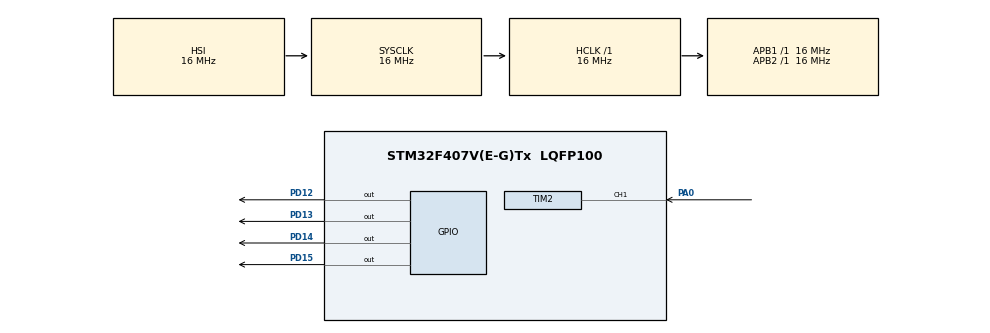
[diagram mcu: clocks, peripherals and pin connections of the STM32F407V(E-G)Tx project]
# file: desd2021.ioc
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Mcu.Family=STM32F4
RCC.CortexFreq_Value=16000000
TIM2.Channel-Input_Capture1_from_TI1=TIM_CHANNEL_1
VP_IWDG_VS_IWDG.Mode=IWDG_Activate
ProjectManager.StackSize=0x400
PA0-WKUP.Signal=S_TIM2_CH1_ETR
PA13.Signal=SYS_JTMS-SWDIO
PD13.Signal=GPIO_Output
ProjectManager.TargetToolchain=STM32CubeIDE
TIM2.ICFilter_CH1=15
RCC.LSE_VALUE=32768
RCC.AHBFreq_Value=16000000
RCC.HSE_VALUE=25000000
board=custom
RCC.VCOOutputFreq_Value=192000000
RCC.APB2Freq_Value=16000000
VP_TIM2_VS_ClockSourceINT.Mode=Internal
PA14.Mode=Serial_Wire
NVIC.TIM2_IRQn=true\:0\:0\:false\:false\:true\:true\:true
TIM2.Period=8000
PA13.Mode=Serial_Wire
Mcu.Name=STM32F407V(E-G)Tx
PD14.Signal=GPIO_Output
RCC.SYSCLKFreq_VALUE=16000000
Mcu.Package=LQFP100
TIM2.Prescaler=16000
PD12.Signal=GPIO_Output
IWDG.Reload=4000
SH.S_TIM2_CH1_ETR.0=TIM2_CH1,Input_Capture1_from_TI1
PA14.Signal=SYS_JTCK-SWCLK
ProjectManager.HeapSize=0x200
RCC.HSI_VALUE=16000000
NVIC.PriorityGroup=NVIC_PRIORITYGROUP_4
TIM2.TIM_MasterOutputTrigger=TIM_TRGO_UPDATE
IWDG.Prescaler=IWDG_PRESCALER_64
TIM2.AutoReloadPreload=TIM_AUTORELOAD_PRELOAD_DISABLE
RCC.APB1Freq_Value=16000000
PD15.Signal=GPIO_Output

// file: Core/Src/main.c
/* USER CODE BEGIN Header */
/**
  ******************************************************************************
  * @file           : main.c
  * @brief          : Main program body
  ******************************************************************************
  * @attention
  *
  * <h2><center>&copy; Copyright (c) 2021 STMicroelectronics.
  * All rights reserved.</center></h2>
  *
  * This software component is licensed by ST under BSD 3-Clause license,
  * the "License"; You may not use this file except in compliance with the
  * License. You may obtain a copy of the License at:
  *                        opensource.org/licenses/BSD-3-Clause
  *
  ******************************************************************************
  */
/* USER CODE END Header */
#include "main.h"

IWDG_HandleTypeDef hiwdg;

TIM_HandleTypeDef htim2;

/* USER CODE BEGIN PV */
uint8_t ch=0;
int Val;
int CaptureVal;
/* USER CODE END PV */

void SystemClock_Config(void);
static void MX_GPIO_Init(void);
static void MX_TIM2_Init(void);
static void MX_IWDG_Init(void);

int main(void)
{

  /* MCU Configuration--------------------------------------------------------*/

  /* Reset of all peripherals, Initializes the Flash interface and the Systick. */
  HAL_Init();

  /* Configure the system clock */
  SystemClock_Config();

  /* Initialize all configured peripherals */
  MX_GPIO_Init();
  MX_TIM2_Init();
  MX_IWDG_Init();
  /* USER CODE BEGIN 2 */
  HAL_GPIO_WritePin(GPIOD, GPIO_PIN_15, SET);
  HAL_Delay(500);
  HAL_GPIO_WritePin(GPIOD, GPIO_PIN_15, RESET);
  HAL_TIM_IC_Start_IT(&htim2, TIM_CHANNEL_1);
  /* USER CODE END 2 */

  /* Infinite loop */
  while (1)
  {

    /* USER CODE BEGIN 3 */
	  Val = __HAL_TIM_GET_COUNTER(&htim2);

	  if(1 == ch)
	 	  {
		      HAL_IWDG_Refresh(&hiwdg);
		      while(1){
		    	  Val = __HAL_TIM_GET_COUNTER(&htim2);
	 		  HAL_GPIO_WritePin(GPIOD, GPIO_PIN_12,GPIO_PIN_SET);
	 		  HAL_Delay(500);
	 		  HAL_GPIO_WritePin(GPIOD, GPIO_PIN_13,GPIO_PIN_SET);
	 		  HAL_Delay(500);
	 		  HAL_GPIO_WritePin(GPIOD, GPIO_PIN_14,GPIO_PIN_SET);
	 		  HAL_Delay(500);
	 		  HAL_GPIO_WritePin(GPIOD, GPIO_PIN_15,GPIO_PIN_SET);
	 		  HAL_Delay(500);
	 		  HAL_GPIO_WritePin(GPIOD, GPIO_PIN_12,GPIO_PIN_RESET);
	 		  HAL_GPIO_WritePin(GPIOD, GPIO_PIN_13,GPIO_PIN_RESET);
	 		  HAL_GPIO_WritePin(GPIOD, GPIO_PIN_14,GPIO_PIN_RESET);
	 		  HAL_GPIO_WritePin(GPIOD, GPIO_PIN_15,GPIO_PIN_RESET);
	 		  HAL_Delay(500);
		      }
	 	  }
	  else if(2==ch){
		  HAL_IWDG_Refresh(&hiwdg);
		  while(1){
			  Val = __HAL_TIM_GET_COUNTER(&htim2);
		  HAL_GPIO_WritePin(GPIOD, GPIO_PIN_15,GPIO_PIN_SET);
		  HAL_Delay(500);
		  HAL_GPIO_WritePin(GPIOD, GPIO_PIN_14,GPIO_PIN_SET);
		  HAL_Delay(500);
		  HAL_GPIO_WritePin(GPIOD, GPIO_PIN_13,GPIO_PIN_SET);
		  HAL_Delay(500);
		  HAL_GPIO_WritePin(GPIOD, GPIO_PIN_12,GPIO_PIN_SET);
		  HAL_Delay(500);
		  HAL_GPIO_WritePin(GPIOD, GPIO_PIN_12,GPIO_PIN_RESET);
		  HAL_GPIO_WritePin(GPIOD, GPIO_PIN_13,GPIO_PIN_RESET);
		  HAL_GPIO_WritePin(GPIOD, GPIO_PIN_14,GPIO_PIN_RESET);
		  HAL_GPIO_WritePin(GPIOD, GPIO_PIN_15,GPIO_PIN_RESET);
		  HAL_Delay(500);
		  }
	  }
	  else if(3==ch){
		  Val = __HAL_TIM_GET_COUNTER(&htim2);
		 HAL_IWDG_Refresh(&hiwdg);
		 ch=0;

	  }

  }
  /* USER CODE END 3 */
}

void SystemClock_Config(void)
{
  RCC_OscInitTypeDef RCC_OscInitStruct = {0};
  RCC_ClkInitTypeDef RCC_ClkInitStruct = {0};

  /** Configure the main internal regulator output voltage
  */
  __HAL_RCC_PWR_CLK_ENABLE();
  __HAL_PWR_VOLTAGESCALING_CONFIG(PWR_REGULATOR_VOLTAGE_SCALE1);
  /** Initializes the RCC Oscillators according to the specified parameters
  * in the RCC_OscInitTypeDef structure.
  */
  RCC_OscInitStruct.OscillatorType = RCC_OSCILLATORTYPE_HSI|RCC_OSCILLATORTYPE_LSI;
  RCC_OscInitStruct.HSIState = RCC_HSI_ON;
  RCC_OscInitStruct.HSICalibrationValue = RCC_HSICALIBRATION_DEFAULT;
  RCC_OscInitStruct.LSIState = RCC_LSI_ON;
  RCC_OscInitStruct.PLL.PLLState = RCC_PLL_NONE;
  if (HAL_RCC_OscConfig(&RCC_OscInitStruct) != HAL_OK)
  {
    Error_Handler();
  }
  /** Initializes the CPU, AHB and APB buses clocks
  */
  RCC_ClkInitStruct.ClockType = RCC_CLOCKTYPE_HCLK|RCC_CLOCKTYPE_SYSCLK
                              |RCC_CLOCKTYPE_PCLK1|RCC_CLOCKTYPE_PCLK2;
  RCC_ClkInitStruct.SYSCLKSource = RCC_SYSCLKSOURCE_HSI;
  RCC_ClkInitStruct.AHBCLKDivider = RCC_SYSCLK_DIV1;
  RCC_ClkInitStruct.APB1CLKDivider = RCC_HCLK_DIV1;
  RCC_ClkInitStruct.APB2CLKDivider = RCC_HCLK_DIV1;

  if (HAL_RCC_ClockConfig(&RCC_ClkInitStruct, FLASH_LATENCY_0) != HAL_OK)
  {
    Error_Handler();
  }
}

static void MX_IWDG_Init(void)
{

  hiwdg.Instance = IWDG;
  hiwdg.Init.Prescaler = IWDG_PRESCALER_64;
  hiwdg.Init.Reload = 4000;
  if (HAL_IWDG_Init(&hiwdg) != HAL_OK)
  {
    Error_Handler();
  }

}

static void MX_TIM2_Init(void)
{

  TIM_ClockConfigTypeDef sClockSourceConfig = {0};
  TIM_MasterConfigTypeDef sMasterConfig = {0};
  TIM_IC_InitTypeDef sConfigIC = {0};

  htim2.Instance = TIM2;
  htim2.Init.Prescaler = 16000;
  htim2.Init.CounterMode = TIM_COUNTERMODE_UP;
  htim2.Init.Period = 8000;
  htim2.Init.ClockDivision = TIM_CLOCKDIVISION_DIV1;
  htim2.Init.AutoReloadPreload = TIM_AUTORELOAD_PRELOAD_DISABLE;
  if (HAL_TIM_Base_Init(&htim2) != HAL_OK)
  {
    Error_Handler();
  }
  sClockSourceConfig.ClockSource = TIM_CLOCKSOURCE_INTERNAL;
  if (HAL_TIM_ConfigClockSource(&htim2, &sClockSourceConfig) != HAL_OK)
  {
    Error_Handler();
  }
  if (HAL_TIM_IC_Init(&htim2) != HAL_OK)
  {
    Error_Handler();
  }
  sMasterConfig.MasterOutputTrigger = TIM_TRGO_UPDATE;
  sMasterConfig.MasterSlaveMode = TIM_MASTERSLAVEMODE_DISABLE;
  if (HAL_TIMEx_MasterConfigSynchronization(&htim2, &sMasterConfig) != HAL_OK)
  {
    Error_Handler();
  }
  sConfigIC.ICPolarity = TIM_INPUTCHANNELPOLARITY_RISING;
  sConfigIC.ICSelection = TIM_ICSELECTION_DIRECTTI;
  sConfigIC.ICPrescaler = TIM_ICPSC_DIV1;
  sConfigIC.ICFilter = 15;
  if (HAL_TIM_IC_ConfigChannel(&htim2, &sConfigIC, TIM_CHANNEL_1) != HAL_OK)
  {
    Error_Handler();
  }

}

static void MX_GPIO_Init(void)
{
  GPIO_InitTypeDef GPIO_InitStruct = {0};

  /* GPIO Ports Clock Enable */
  __HAL_RCC_GPIOA_CLK_ENABLE();
  __HAL_RCC_GPIOD_CLK_ENABLE();

  /*Configure GPIO pin Output Level */
  HAL_GPIO_WritePin(GPIOD, GPIO_PIN_12|GPIO_PIN_13|GPIO_PIN_14|GPIO_PIN_15, GPIO_PIN_RESET);

  /*Configure GPIO pins : PD12 PD13 PD14 PD15 */
  GPIO_InitStruct.Pin = GPIO_PIN_12|GPIO_PIN_13|GPIO_PIN_14|GPIO_PIN_15;
  GPIO_InitStruct.Mode = GPIO_MODE_OUTPUT_PP;
  GPIO_InitStruct.Pull = GPIO_NOPULL;
  GPIO_InitStruct.Speed = GPIO_SPEED_FREQ_LOW;
  HAL_GPIO_Init(GPIOD, &GPIO_InitStruct);

}

/* USER CODE BEGIN 4 */
void HAL_TIM_IC_CaptureCallback(TIM_HandleTypeDef *htim)
{

	if(htim->Instance == TIM2)  //Confirming weather Interrupt Genrated from TIM2 as the ISR is common for All Timers
	{
		 CaptureVal = __HAL_TIM_GET_COUNTER(htim);
		 if (HAL_GPIO_ReadPin(GPIOA, GPIO_PIN_0)==1){
				    		  HAL_IWDG_Refresh(&hiwdg);
				    	  }
		if (CaptureVal <3000)
			ch = 1;
		else if(CaptureVal>3000 && CaptureVal<6000)
			ch = 2;
		else
			ch = 3;
	}
}

/* USER CODE END 4 */

void Error_Handler(void)
{
  __disable_irq();
  while (1)
  {
  }
}

/************************ (C) COPYRIGHT STMicroelectronics *****END OF FILE****/
